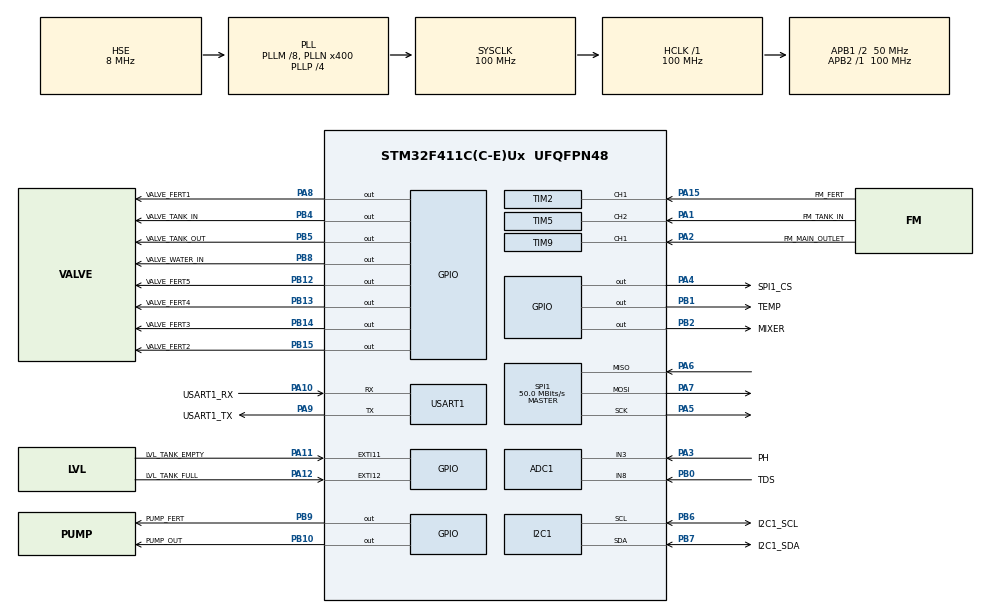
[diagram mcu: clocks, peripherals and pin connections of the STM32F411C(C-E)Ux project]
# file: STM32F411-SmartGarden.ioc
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ADC1.Channel-1\#ChannelRegularConversion=ADC_CHANNEL_3
ADC1.Channel-2\#ChannelRegularConversion=ADC_CHANNEL_8
ADC1.ContinuousConvMode=ENABLE
ADC1.DMAContinuousRequests=DISABLE
ADC1.NbrOfConversion=2
ADC1.NbrOfConversionFlag=1
ADC1.Rank-1\#ChannelRegularConversion=1
ADC1.Rank-2\#ChannelRegularConversion=2
ADC1.SamplingTime-1\#ChannelRegularConversion=ADC_SAMPLETIME_480CYCLES
ADC1.SamplingTime-2\#ChannelRegularConversion=ADC_SAMPLETIME_480CYCLES
ADC1.ScanConvMode=ENABLE
ADC1.master=1
Dma.I2C1_RX.2.Direction=DMA_PERIPH_TO_MEMORY
Dma.I2C1_RX.2.FIFOMode=DMA_FIFOMODE_DISABLE
Dma.I2C1_RX.2.Instance=DMA1_Stream0
Dma.I2C1_RX.2.MemDataAlignment=DMA_MDATAALIGN_BYTE
Dma.I2C1_RX.2.MemInc=DMA_MINC_ENABLE
Dma.I2C1_RX.2.Mode=DMA_NORMAL
Dma.I2C1_RX.2.PeriphDataAlignment=DMA_PDATAALIGN_BYTE
Dma.I2C1_RX.2.PeriphInc=DMA_PINC_DISABLE
Dma.I2C1_RX.2.Priority=DMA_PRIORITY_LOW
Dma.I2C1_TX.3.Direction=DMA_MEMORY_TO_PERIPH
Dma.I2C1_TX.3.FIFOMode=DMA_FIFOMODE_DISABLE
Dma.I2C1_TX.3.Instance=DMA1_Stream1
Dma.I2C1_TX.3.MemDataAlignment=DMA_MDATAALIGN_BYTE
Dma.I2C1_TX.3.MemInc=DMA_MINC_ENABLE
Dma.I2C1_TX.3.Mode=DMA_NORMAL
Dma.I2C1_TX.3.PeriphDataAlignment=DMA_PDATAALIGN_BYTE
Dma.I2C1_TX.3.PeriphInc=DMA_PINC_DISABLE
Dma.I2C1_TX.3.Priority=DMA_PRIORITY_LOW
Dma.Request0=USART1_RX
Dma.Request1=USART1_TX
Dma.Request2=I2C1_RX
Dma.Request3=I2C1_TX
Dma.USART1_RX.0.Direction=DMA_PERIPH_TO_MEMORY
Dma.USART1_RX.0.FIFOMode=DMA_FIFOMODE_DISABLE
Dma.USART1_RX.0.Instance=DMA2_Stream2
Dma.USART1_RX.0.MemDataAlignment=DMA_MDATAALIGN_BYTE
Dma.USART1_RX.0.MemInc=DMA_MINC_ENABLE
Dma.USART1_RX.0.Mode=DMA_NORMAL
Dma.USART1_RX.0.PeriphDataAlignment=DMA_PDATAALIGN_BYTE
Dma.USART1_RX.0.PeriphInc=DMA_PINC_DISABLE
Dma.USART1_RX.0.Priority=DMA_PRIORITY_LOW
Dma.USART1_TX.1.Direction=DMA_MEMORY_TO_PERIPH
Dma.USART1_TX.1.FIFOMode=DMA_FIFOMODE_DISABLE
Dma.USART1_TX.1.Instance=DMA2_Stream7
Dma.USART1_TX.1.MemDataAlignment=DMA_MDATAALIGN_BYTE
Dma.USART1_TX.1.MemInc=DMA_MINC_ENABLE
Dma.USART1_TX.1.Mode=DMA_NORMAL
Dma.USART1_TX.1.PeriphDataAlignment=DMA_PDATAALIGN_BYTE
Dma.USART1_TX.1.PeriphInc=DMA_PINC_DISABLE
Dma.USART1_TX.1.Priority=DMA_PRIORITY_LOW
Mcu.Family=STM32F4
Mcu.Name=STM32F411C(C-E)Ux
Mcu.Package=UFQFPN48
NVIC.DMA1_Stream0_IRQn=true\:0\:0\:false\:false\:true\:false\:true\:true
NVIC.DMA1_Stream1_IRQn=true\:0\:0\:false\:false\:true\:false\:true\:true
NVIC.DMA2_Stream2_IRQn=true\:0\:0\:false\:false\:true\:false\:true\:true
NVIC.DMA2_Stream7_IRQn=true\:0\:0\:false\:false\:true\:false\:true\:true
NVIC.EXTI15_10_IRQn=true\:0\:0\:false\:false\:true\:true\:true\:true
NVIC.PriorityGroup=NVIC_PRIORITYGROUP_4
PA0-WKUP.GPIO_Label=SYS_WKUP
PA0-WKUP.Mode=SYS_WakeUp0
PA0-WKUP.Signal=SYS_WKUP
PA1.GPIO_Label=FM_TANK_IN
PA1.Signal=S_TIM5_CH2
PA10.GPIO_Label=USART1_RX
PA10.Mode=Asynchronous
PA10.Signal=USART1_RX
PA11.GPIO_Label=LVL_TANK_EMPTY
PA11.GPIO_ModeDefaultEXTI=GPIO_MODE_IT_RISING_FALLING
PA11.Signal=GPXTI11
PA12.GPIO_Label=LVL_TANK_FULL
PA12.GPIO_ModeDefaultEXTI=GPIO_MODE_IT_RISING_FALLING
PA12.Signal=GPXTI12
PA13.Mode=Trace_Asynchronous_SW
PA13.Signal=SYS_JTMS-SWDIO
PA14.Mode=Trace_Asynchronous_SW
PA14.Signal=SYS_JTCK-SWCLK
PA15.GPIO_Label=FM_FERT
PA15.Signal=S_TIM2_CH1_ETR
PA2.GPIO_Label=FM_MAIN_OUTLET
PA2.Signal=S_TIM9_CH1
PA3.GPIO_Label=PH
PA3.Signal=ADCx_IN3
PA4.GPIO_Label=SPI1_CS
PA4.Signal=GPIO_Output
PA5.Mode=Full_Duplex_Master
PA5.Signal=SPI1_SCK
PA6.Mode=Full_Duplex_Master
PA6.Signal=SPI1_MISO
PA7.Mode=Full_Duplex_Master
PA7.Signal=SPI1_MOSI
PA8.GPIO_Label=VALVE_FERT1
PA8.Signal=GPIO_Output
PA9.GPIO_Label=USART1_TX
PA9.Mode=Asynchronous
PA9.Signal=USART1_TX
PB0.GPIO_Label=TDS
PB0.Signal=ADCx_IN8
PB1.GPIO_Label=TEMP
PB1.Signal=GPIO_Output
PB10.GPIO_Label=PUMP_OUT
PB10.Signal=GPIO_Output
PB12.GPIO_Label=VALVE_FERT5
PB12.Signal=GPIO_Output
PB13.GPIO_Label=VALVE_FERT4
PB13.Signal=GPIO_Output
PB14.GPIO_Label=VALVE_FERT3
PB14.Signal=GPIO_Output
PB15.GPIO_Label=VALVE_FERT2
PB15.Signal=GPIO_Output
PB2.GPIO_Label=MIXER
PB2.Signal=GPIO_Output
PB3.Mode=Trace_Asynchronous_SW
PB3.Signal=SYS_JTDO-SWO
PB4.GPIO_Label=VALVE_TANK_IN
PB4.Signal=GPIO_Output
PB5.GPIO_Label=VALVE_TANK_OUT
PB5.Signal=GPIO_Output
PB6.GPIO_Label=I2C1_SCL
PB6.Mode=I2C
PB6.Signal=I2C1_SCL
PB7.GPIO_Label=I2C1_SDA
PB7.Mode=I2C
PB7.Signal=I2C1_SDA
PB8.GPIO_Label=VALVE_WATER_IN
PB8.Signal=GPIO_Output
PB9.GPIO_Label=PUMP_FERT
PB9.Signal=GPIO_Output
PH0\ -\ OSC_IN.Mode=HSE-External-Oscillator
PH0\ -\ OSC_IN.Signal=RCC_OSC_IN
PH1\ -\ OSC_OUT.Mode=HSE-External-Oscillator
PH1\ -\ OSC_OUT.Signal=RCC_OSC_OUT
ProjectManager.HeapSize=0x200
ProjectManager.StackSize=0x400
ProjectManager.TargetToolchain=STM32CubeIDE
RCC.48MHZClocksFreq_Value=100000000
RCC.AHBFreq_Value=100000000
RCC.APB1CLKDivider=RCC_HCLK_DIV2
RCC.APB1Freq_Value=50000000
RCC.APB1TimFreq_Value=100000000
RCC.APB2Freq_Value=100000000
RCC.APB2TimFreq_Value=100000000
RCC.CortexFreq_Value=100000000
RCC.HCLKFreq_Value=100000000
RCC.HSE_VALUE=8000000
RCC.HSI_VALUE=16000000
RCC.LSE_VALUE=32768
RCC.PLLM=8
RCC.PLLN=400
RCC.PLLP=RCC_PLLP_DIV4
RCC.PLLSourceVirtual=RCC_PLLSOURCE_HSE
RCC.SYSCLKFreq_VALUE=100000000
RCC.SYSCLKSource=RCC_SYSCLKSOURCE_PLLCLK
RCC.VCOOutputFreq_Value=400000000
SH.ADCx_IN3.0=ADC1_IN3,IN3
SH.ADCx_IN8.0=ADC1_IN8,IN8
SH.S_TIM2_CH1_ETR.0=TIM2_CH1,TriggerSource_TI1FP1
SH.S_TIM5_CH2.0=TIM5_CH2,TriggerSource_TI2FP2
SH.S_TIM9_CH1.0=TIM9_CH1,TriggerSource_TI1FP1
SPI1.CalculateBaudRate=50.0 MBits/s
SPI1.Direction=SPI_DIRECTION_2LINES
SPI1.Mode=SPI_MODE_MASTER
SPI1.VirtualType=VM_MASTER
USART1.VirtualMode=VM_ASYNC
VP_CRC_VS_CRC.Mode=CRC_Activate
VP_TIM2_VS_ControllerModeClock.Mode=Clock Mode
VP_TIM5_VS_ControllerModeClock.Mode=Clock Mode
VP_TIM9_VS_ControllerModeClock.Mode=Clock Mode
board=custom

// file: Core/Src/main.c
/* USER CODE BEGIN Header */
/**
  ******************************************************************************
  * @file           : main.c
  * @brief          : Main program body
  ******************************************************************************
  * @attention
  *
  * Copyright (c) 2026 STMicroelectronics.
  * All rights reserved.
  *
  * This software is licensed under terms that can be found in the LICENSE file
  * in the root directory of this software component.
  * If no LICENSE file comes with this software, it is provided AS-IS.
  *
  ******************************************************************************
  */
/* USER CODE END Header */
#include "main.h"
#include "adc.h"
#include "crc.h"
#include "dma.h"
#include "i2c.h"
#include "spi.h"
#include "tim.h"
#include "usart.h"
#include "gpio.h"

/* USER CODE BEGIN Includes */
#include "delay.h"
#include "spi_wrapper.h"
#include "i2c_wrapper.h"
#include "uart_wrapper.h"
#include "Task/flowmeter_task.h"
#include "command_task.h"
#include "FSM/app_task.h"
#include "ds3231_wrapper.h"
#include "Config/board_config.h"

/* USER CODE END Includes */

/* USER CODE BEGIN PV */
extern QueueHandle_t appQueue;
DS3231_Device_t DS3231_Ctx;
/* USER CODE END PV */

void SystemClock_Config(void);

int main(void)
{

  /* MCU Configuration--------------------------------------------------------*/

  /* Reset of all peripherals, Initializes the Flash interface and the Systick. */
  HAL_Init();

  /* Configure the system clock */
  SystemClock_Config();

  /* Initialize all configured peripherals */
  MX_GPIO_Init();
  MX_DMA_Init();
  MX_I2C1_Init();
  MX_ADC1_Init();
  MX_USART1_UART_Init();
  MX_SPI1_Init();
  MX_TIM2_Init();
  MX_TIM5_Init();
  MX_TIM9_Init();
  MX_CRC_Init();
  /* USER CODE BEGIN 2 */
  DWT_Delay_Init();
  /* Inisialisasi Wrapper Hardware */
  I2C_Init(&i2c1_ctx);
  SPI_Init(&spi1_ctx);
  UART_Init(&uart1_ctx, &huart1);

  DS3231_Init(&DS3231_Ctx, &i2c1_ctx, RTC_I2C_ADDR);

  // 1. Buat Task Utama terlebih dahulu (Ini akan menginisialisasi 'appQueue')
  APP_TaskCreate(tskIDLE_PRIORITY + 1);

  // 2. Buat Task Bluetooth, lalu masukkan 'appQueue' sebagai parameter ketiga
  CMD_AppTaskCreate(tskIDLE_PRIORITY + 2, &uart1_ctx, appQueue);

  // 3. Buat Task Flowmeter
  Flowmeter_TaskCreate(tskIDLE_PRIORITY + 1);

  // (Inisialisasi task lain jika ada...)
  vTaskStartScheduler();

  /* USER CODE END 2 */

  /* Infinite loop */
  while (1)
  {

  }
}

void SystemClock_Config(void)
{
  RCC_OscInitTypeDef RCC_OscInitStruct = {0};
  RCC_ClkInitTypeDef RCC_ClkInitStruct = {0};

  /** Configure the main internal regulator output voltage
  */
  __HAL_RCC_PWR_CLK_ENABLE();
  __HAL_PWR_VOLTAGESCALING_CONFIG(PWR_REGULATOR_VOLTAGE_SCALE1);

  /** Initializes the RCC Oscillators according to the specified parameters
  * in the RCC_OscInitTypeDef structure.
  */
  RCC_OscInitStruct.OscillatorType = RCC_OSCILLATORTYPE_HSE;
  RCC_OscInitStruct.HSEState = RCC_HSE_ON;
  RCC_OscInitStruct.PLL.PLLState = RCC_PLL_ON;
  RCC_OscInitStruct.PLL.PLLSource = RCC_PLLSOURCE_HSE;
  RCC_OscInitStruct.PLL.PLLM = 8;
  RCC_OscInitStruct.PLL.PLLN = 400;
  RCC_OscInitStruct.PLL.PLLP = RCC_PLLP_DIV4;
  RCC_OscInitStruct.PLL.PLLQ = 4;
  if (HAL_RCC_OscConfig(&RCC_OscInitStruct) != HAL_OK)
  {
    Error_Handler();
  }

  /** Initializes the CPU, AHB and APB buses clocks
  */
  RCC_ClkInitStruct.ClockType = RCC_CLOCKTYPE_HCLK|RCC_CLOCKTYPE_SYSCLK
                              |RCC_CLOCKTYPE_PCLK1|RCC_CLOCKTYPE_PCLK2;
  RCC_ClkInitStruct.SYSCLKSource = RCC_SYSCLKSOURCE_PLLCLK;
  RCC_ClkInitStruct.AHBCLKDivider = RCC_SYSCLK_DIV1;
  RCC_ClkInitStruct.APB1CLKDivider = RCC_HCLK_DIV2;
  RCC_ClkInitStruct.APB2CLKDivider = RCC_HCLK_DIV1;

  if (HAL_RCC_ClockConfig(&RCC_ClkInitStruct, FLASH_LATENCY_3) != HAL_OK)
  {
    Error_Handler();
  }
}

/* USER CODE BEGIN 4 */
void HAL_TIM_IC_CaptureCallback(TIM_HandleTypeDef *htim)
{
    // Lempar sinyal interupsi ini ke driver flowmeter kita
}

/* USER CODE END 4 */

void Error_Handler(void)
{
  __disable_irq();
  while (1)
  {
  }
}
